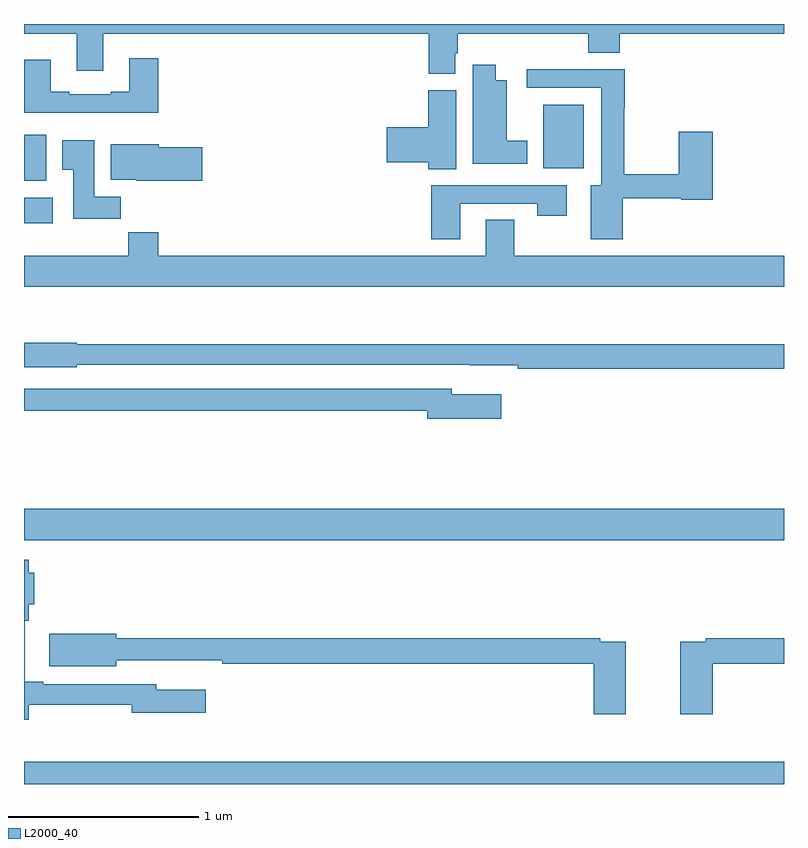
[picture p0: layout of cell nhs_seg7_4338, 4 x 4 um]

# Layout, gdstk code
import gdstk
lib = gdstk.Library(unit=1e-6, precision=1e-09)
def R(c, l, rs):  # rectangles x0, y0, x1, y1
    for r in rs: c.add(gdstk.rectangle(r[:2], r[2:], *l))
def P(c, l, *ps):  # polygons
    for p in ps: c.add(gdstk.Polygon(p, *l))
L2000_40 = (2000, 40)

nhs_seg7_4338 = lib.new_cell('nhs_seg7_4338')
R(nhs_seg7_4338, L2000_40, [(385,998,389,998.116), (385,999.284,389,999.448), (385,1000.952,385.15,1001.086), (385,1001.174,385.117,1001.416), (387.734,1001.24,387.946,1001.575)])
P(nhs_seg7_4338, L2000_40, [(387.271,1001.847),(387.284,1001.847),(387.284,1001.948),(387.971,1001.948),(387.971,1001.849),(388.136,1001.849),(388.136,1001.948),(389,1001.948),(389,1002),(385,1002),(385,1001.948),(385.277,1001.948),(385.277,1001.754),(385.417,1001.754),(385.417,1001.948),(387.131,1001.948),(387.131,1001.737),(387.271,1001.737)],
  [(385.706,1001.821),(385.553,1001.821),(385.553,1001.644),(385.457,1001.644),(385.457,1001.631),(385.237,1001.631),(385.237,1001.644),(385.141,1001.644),(385.141,1001.812),(385,1001.812),(385,1001.715),(385.001,1001.715),(385.001,1001.534),(385.706,1001.534)],
  [(387.649,1001.386),(387.541,1001.386),(387.541,1001.704),(387.484,1001.704),(387.484,1001.785),(387.362,1001.785),(387.362,1001.264),(387.649,1001.264)],
  [(388.15,1001.082),(388.458,1001.082),(388.458,1001.074),(388.625,1001.074),(388.625,1001.434),(388.447,1001.434),(388.447,1001.21),(388.158,1001.21),(388.158,1001.557),(388.163,1001.557),(388.163,1001.762),(387.645,1001.762),(387.645,1001.664),(388.037,1001.664),(388.037,1001.152),(387.983,1001.152),(387.983,1000.866),(388.15,1000.866)],
  [(387.274,1001.652),(387.128,1001.652),(387.128,1001.456),(386.91,1001.456),(386.91,1001.273),(387.128,1001.273),(387.128,1001.236),(387.274,1001.236)],
  [(385.508,1001.092),(385.369,1001.092),(385.369,1001.389),(385.202,1001.389),(385.202,1001.233),(385.259,1001.233),(385.259,1000.974),(385.508,1000.974)],
  [(385.939,1001.351),(385.708,1001.351),(385.708,1001.368),(385.457,1001.368),(385.457,1001.18),(385.59,1001.18),(385.59,1001.174),(385.939,1001.174)],
  [(387.295,1001.055),(387.7,1001.055),(387.7,1000.992),(387.856,1000.992),(387.856,1001.151),(387.143,1001.151),(387.143,1000.866),(387.295,1000.866)],
  [(389,1000.78),(387.579,1000.78),(387.579,1000.97),(387.431,1000.97),(387.431,1000.78),(385.706,1000.78),(385.706,1000.904),(385.549,1000.904),(385.549,1000.78),(385,1000.78),(385,1000.616),(389,1000.616)],
  [(389,1000.315),(385.278,1000.315),(385.278,1000.323),(385,1000.323),(385,1000.193),(385.278,1000.193),(385.278,1000.206),(387.346,1000.206),(387.346,1000.205),(387.598,1000.205),(387.598,1000.186),(389,1000.186)],
  [(387.511,1000.051),(387.25,1000.051),(387.25,1000.08),(385,1000.08),(385,999.964),(387.122,999.964),(387.122,999.922),(387.511,999.922)],
  [(385.025,998.418),(385.568,998.418),(385.568,998.375),(385.957,998.375),(385.957,998.497),(385.696,998.497),(385.696,998.526),(385.102,998.526),(385.102,998.539),(385.005,998.539),(385.005,998.858),(385.025,998.858),(385.025,998.947),(385.055,998.947),(385.055,999.112),(385.025,999.112),(385.025,999.181),(385,999.181),(385,998.337),(385.025,998.337)],
  [(388.168,998.748),(388.034,998.748),(388.034,998.768),(385.486,998.768),(385.486,998.792),(385.134,998.792),(385.134,998.621),(385.486,998.621),(385.486,998.652),(385.792,998.652),(385.792,998.651),(386.044,998.651),(386.044,998.632),(387.998,998.632),(387.998,998.367),(388.168,998.367)],
  [(388.625,998.632),(389,998.632),(389,998.768),(388.588,998.768),(388.588,998.748),(388.454,998.748),(388.454,998.367),(388.625,998.367)])

lib.write_gds('nhs_seg7_4338.gds')
